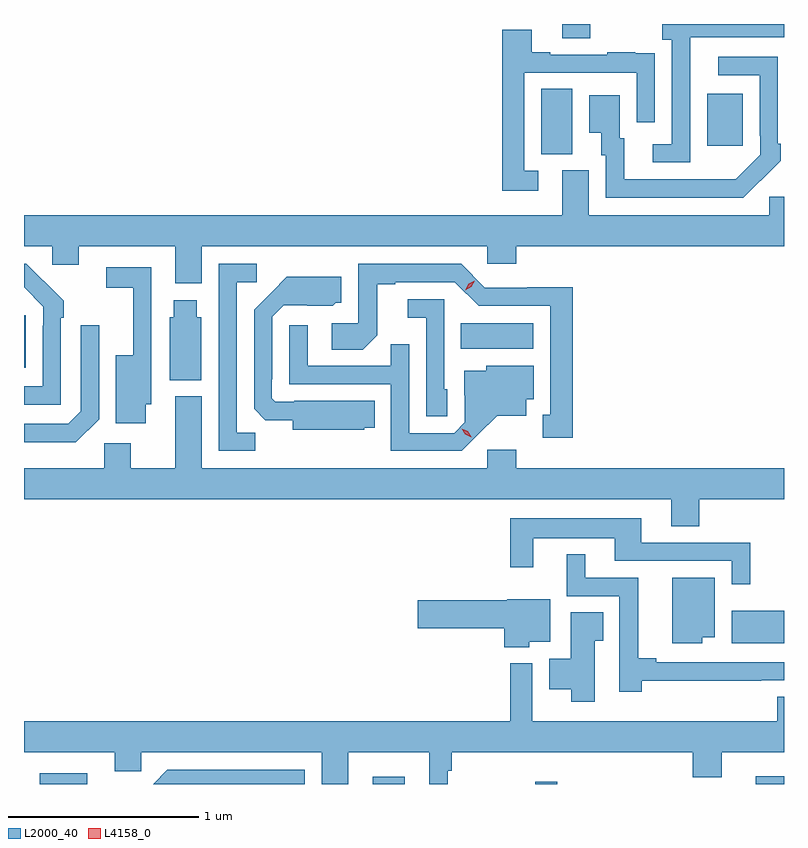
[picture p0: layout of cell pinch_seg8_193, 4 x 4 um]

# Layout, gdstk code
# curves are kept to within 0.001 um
import gdstk
lib = gdstk.Library(unit=1e-6, precision=1e-09)
def R(c, l, rs):  # rectangles x0, y0, x1, y1
    for r in rs: c.add(gdstk.rectangle(r[:2], r[2:], *l))
def P(c, l, *ps):  # polygons
    for p in ps: c.add(gdstk.Polygon(p, *l))
L2000_40 = (2000, 40)
L4158_0 = (4158, 0)

pinch_seg8_193 = lib.new_cell('pinch_seg8_193')
R(pinch_seg8_193, L2000_40, [(638.87,1157.626,639.121,1157.682), (640.623,1157.626,640.791,1157.665), (641.478,1157.626,641.594,1157.638), (642.638,1157.626,642.788,1157.668), (642.512,1158.368,642.788,1158.538), (638.788,1159.817,638.797,1160.092), (641.086,1159.916,641.467,1160.05), (641.51,1160.941,641.674,1161.284), (642.383,1160.985,642.571,1161.259), (641.621,1161.55,641.769,1161.626)])
P(pinch_seg8_193, L2000_40, [(642.294,1161.355),(642.295,1161.355),(642.295,1161.555),(642.788,1161.555),(642.788,1161.626),(642.147,1161.626),(642.147,1161.542),(642.198,1161.542),(642.198,1160.994),(642.096,1160.994),(642.096,1160.898),(642.294,1160.898)],
  [(641.494,1160.853),(641.421,1160.853),(641.421,1161.369),(642.012,1161.369),(642.012,1161.108),(642.108,1161.108),(642.108,1161.362),(642.107,1161.362),(642.107,1161.471),(642.005,1161.471),(642.005,1161.478),(641.857,1161.478),(641.857,1161.465),(641.557,1161.465),(641.557,1161.478),(641.461,1161.478),(641.461,1161.595),(641.305,1161.595),(641.305,1160.748),(641.494,1160.748)],
  [(642.665,1160.803),(642.666,1160.802),(642.771,1160.907),(642.771,1160.995),(642.756,1160.995),(642.756,1161.453),(642.441,1161.453),(642.441,1161.357),(642.66,1161.357),(642.66,1161.037),(642.663,1161.037),(642.663,1160.937),(642.535,1160.809),(641.947,1160.808),(641.947,1161.024),(641.923,1161.024),(641.923,1161.25),(641.762,1161.25),(641.762,1161.053),(641.825,1161.053),(641.825,1160.934),(641.85,1160.934),(641.85,1160.712),(642.574,1160.712)],
  [(639.724,1160.456),(641.226,1160.456),(641.226,1160.363),(641.378,1160.363),(641.378,1160.456),(642.788,1160.456),(642.788,1160.718),(642.711,1160.718),(642.711,1160.62),(641.761,1160.62),(641.761,1160.856),(641.621,1160.856),(641.621,1160.62),(638.788,1160.62),(638.788,1160.456),(638.937,1160.456),(638.937,1160.358),(639.076,1160.358),(639.076,1160.456),(639.584,1160.456),(639.584,1160.262),(639.724,1160.262)],
  [(640.005,1159.475),(639.909,1159.475),(639.909,1160.268),(640.012,1160.268),(640.012,1160.364),(639.813,1160.364),(639.813,1159.38),(640.005,1159.38)],
  [(638.982,1160.081),(638.997,1160.081),(638.997,1160.169),(638.8,1160.364),(638.788,1160.364),(638.788,1160.241),(638.889,1160.139),(638.889,1160.039),(638.886,1160.039),(638.886,1159.719),(638.788,1159.719),(638.788,1159.623),(638.982,1159.623)],
  [(641.677,1160.24),(641.436,1160.24),(641.436,1160.238),(641.214,1160.238),(641.088,1160.364),(640.548,1160.364),(640.548,1160.052),(640.407,1160.052),(640.407,1159.912),(640.571,1159.912),(640.647,1159.988),(640.647,1160.256),(640.741,1160.256),(640.741,1160.268),(641.055,1160.268),(641.181,1160.142),(641.558,1160.142),(641.558,1159.569),(641.519,1159.569),(641.519,1159.449),(641.677,1159.449)],
  [(639.43,1159.625),(639.459,1159.625),(639.459,1160.346),(639.222,1160.346),(639.222,1160.238),(639.362,1160.238),(639.362,1159.882),(639.272,1159.882),(639.272,1159.524),(639.43,1159.524)],
  [(640.578,1159.502),(640.634,1159.502),(640.634,1159.642),(640.21,1159.642),(640.21,1159.638),(640.11,1159.638),(640.092,1159.656),(640.092,1159.756),(640.095,1159.756),(640.095,1160.085),(640.155,1160.145),(640.412,1160.144),(640.428,1160.16),(640.459,1160.16),(640.459,1160.296),(640.171,1160.296),(639.999,1160.122),(639.999,1159.6),(640.058,1159.541),(640.202,1159.541),(640.202,1159.49),(640.578,1159.49)],
  [(641.016,1159.704),(641.001,1159.704),(641.001,1160.178),(640.809,1160.178),(640.809,1160.081),(640.905,1160.081),(640.905,1159.561),(641.016,1159.561)],
  [(639.721,1160.082),(639.697,1160.082),(639.697,1160.173),(639.575,1160.173),(639.575,1160.082),(639.554,1160.082),(639.554,1159.751),(639.721,1159.751)],
  [(639.183,1159.547),(639.183,1160.041),(639.087,1160.041),(639.087,1159.587),(639.021,1159.521),(638.788,1159.521),(638.788,1159.424),(639.06,1159.424)],
  [(641.176,1159.463),(641.279,1159.565),(641.431,1159.565),(641.431,1159.652),(641.47,1159.652),(641.47,1159.828),(641.22,1159.828),(641.22,1159.801),(641.105,1159.801),(641.105,1159.672),(641.109,1159.672),(641.109,1159.53),(641.052,1159.473),(640.815,1159.473),(640.815,1159.94),(640.717,1159.94),(640.717,1159.827),(640.281,1159.827),(640.281,1160.041),(640.185,1160.041),(640.185,1159.731),(640.719,1159.731),(640.719,1159.38),(641.092,1159.38)],
  [(642.342,1159.124),(642.788,1159.124),(642.788,1159.288),(641.378,1159.288),(641.378,1159.384),(641.226,1159.384),(641.226,1159.288),(639.724,1159.288),(639.724,1159.666),(639.584,1159.666),(639.584,1159.288),(639.349,1159.288),(639.349,1159.42),(639.21,1159.42),(639.21,1159.288),(638.788,1159.288),(638.788,1159.124),(642.194,1159.124),(642.194,1158.982),(642.342,1158.982)],
  [(642.611,1158.897),(642.037,1158.897),(642.037,1159.024),(641.346,1159.024),(641.346,1158.768),(641.467,1158.768),(641.467,1158.92),(641.897,1158.92),(641.897,1158.801),(642.513,1158.801),(642.513,1158.678),(642.611,1158.678)],
  [(642.038,1158.17),(642.668,1158.17),(642.668,1158.171),(642.788,1158.171),(642.788,1158.267),(642.115,1158.267),(642.115,1158.287),(642.02,1158.287),(642.02,1158.711),(641.743,1158.711),(641.743,1158.835),(641.645,1158.835),(641.645,1158.615),(641.922,1158.615),(641.922,1158.111),(642.038,1158.111)],
  [(642.358,1158.398),(642.424,1158.398),(642.424,1158.712),(642.2,1158.712),(642.2,1158.368),(642.358,1158.368)],
  [(641.448,1158.374),(641.557,1158.374),(641.557,1158.598),(641.331,1158.598),(641.331,1158.593),(640.86,1158.593),(640.86,1158.446),(641.315,1158.446),(641.315,1158.347),(641.448,1158.347)],
  [(641.791,1158.379),(641.837,1158.379),(641.837,1158.53),(641.666,1158.53),(641.666,1158.286),(641.552,1158.286),(641.552,1158.125),(641.669,1158.125),(641.669,1158.06),(641.791,1158.06)],
  [(640.495,1157.792),(640.922,1157.792),(640.922,1157.626),(641.019,1157.626),(641.019,1157.696),(641.039,1157.696),(641.039,1157.792),(642.308,1157.792),(642.308,1157.662),(642.46,1157.662),(642.46,1157.792),(642.788,1157.792),(642.788,1158.086),(642.752,1158.086),(642.752,1157.956),(641.463,1157.956),(641.463,1158.262),(641.347,1158.262),(641.347,1157.956),(638.788,1157.956),(638.788,1157.792),(639.266,1157.792),(639.266,1157.694),(639.405,1157.694),(639.405,1157.792),(640.355,1157.792),(640.355,1157.626),(640.495,1157.626)],
  [(640.266,1157.7),(639.542,1157.7),(639.468,1157.626),(640.266,1157.626)])
P(pinch_seg8_193, L4158_0, [(641.111,1160.225),(641.111,1160.225),(641.129,1160.258),(641.161,1160.276),(641.161,1160.276),(641.161,1160.276),(641.143,1160.244),(641.111,1160.225)],
  [(641.141,1159.452),(641.11,1159.467),(641.092,1159.497),(641.092,1159.497),(641.092,1159.497),(641.123,1159.482),(641.141,1159.453),(641.141,1159.452)])

lib.write_gds('pinch_seg8_193.gds')
